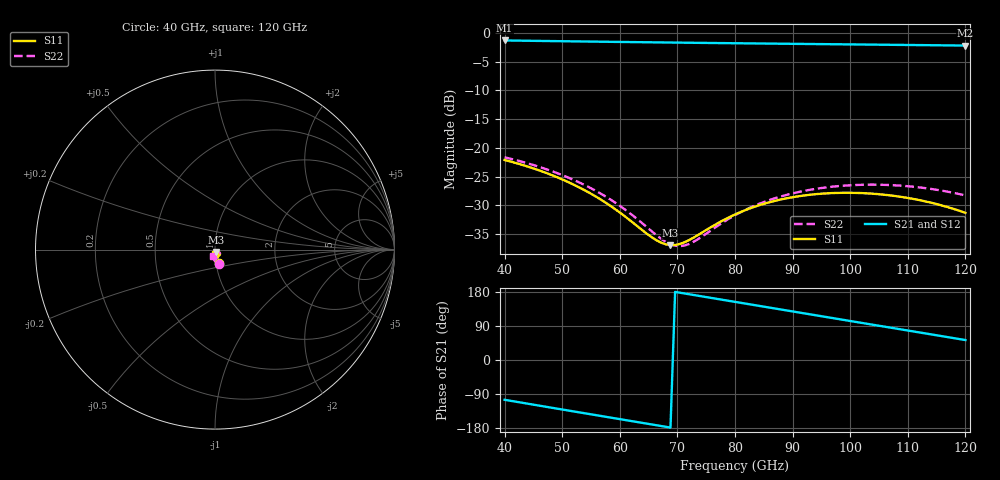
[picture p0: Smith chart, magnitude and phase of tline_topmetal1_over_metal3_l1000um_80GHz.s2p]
#  GHZ S DB R 50
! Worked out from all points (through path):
!   101 points, 40 GHz to 120 GHz, reference 50 ohm
!   highest |S21| = -1.32 dB at 40 GHz (marker M1); lowest = -2.2 dB at 120 GHz (marker M2)
!   group delay of S21, straight-line fit = 7.02 ps
!   lowest |S11| = -36.9 dB at 68.8 GHz (marker M3), VSWR 1.03, Z = 50.6 - j1.3 ohm
!   |S11| at or under -10 dB: start of sweep to end of sweep
!   |S22| runs from -37.1 to -21.7 dB; largest |S21 - S12| = 9.9e-14
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40  -22.12 -72.7  -1.32 -105.0  -1.32 -105.0  -21.66 -74.6
46.4  -24.07 -85.5  -1.41 -121.4  -1.41 -121.4  -23.43 -88.2
53.6  -27.22 -96.9  -1.50 -139.8  -1.50 -139.8  -26.33 -101.1
56.8  -29.07 -99.8  -1.54 -147.9  -1.54 -147.9  -28.03 -105.2
60  -31.26 -100.0  -1.58 -156.0  -1.58 -156.0  -30.09 -107.2
64.8  -35.02 -89.4  -1.64 -168.2  -1.64 -168.2  -33.88 -101.8
67.2  -36.51 -76.1  -1.67 -174.3  -1.67 -174.3  -35.83 -91.5
68.8  -36.92 -64.8  -1.68 -178.3  -1.68 -178.3  -36.77 -80.9
70.4  -36.73 -53.6  -1.70 177.6  -1.70 177.6  -37.11 -68.4
72  -36.06 -44.4  -1.72 173.6  -1.72 173.6  -36.74 -56.4
76  -33.69 -32.3  -1.76 163.5  -1.76 163.5  -34.24 -38.4
80  -31.60 -30.6  -1.81 153.4  -1.81 153.4  -31.72 -34.5
83.2  -30.32 -32.8  -1.84 145.3  -1.84 145.3  -30.15 -36.2
86.4  -29.36 -36.7  -1.87 137.3  -1.87 137.3  -28.94 -39.9
90.4  -28.52 -42.8  -1.91 127.2  -1.91 127.2  -27.83 -46.2
93.6  -28.10 -48.3  -1.95 119.1  -1.95 119.1  -27.20 -51.9
97.6  -27.85 -55.5  -1.98 109.0  -1.98 109.0  -26.69 -59.6
100.8  -27.84 -61.4  -2.02 101.0  -2.02 101.0  -26.47 -66.0
104  -27.99 -67.3  -2.05 92.9  -2.05 92.9  -26.41 -72.5
107.2  -28.31 -73.1  -2.08 84.8  -2.08 84.8  -26.49 -78.9
113.6  -29.44 -83.8  -2.15 68.7  -2.15 68.7  -27.09 -91.6
120  -31.31 -91.9  -2.21 52.7  -2.21 52.7  -28.29 -103.3
